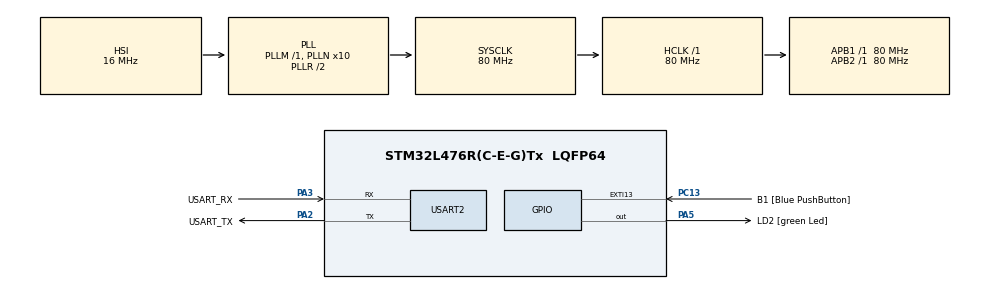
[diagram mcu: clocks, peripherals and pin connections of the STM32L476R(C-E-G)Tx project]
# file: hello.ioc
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Mcu.Family=STM32L4
Mcu.Name=STM32L476R(C-E-G)Tx
Mcu.Package=LQFP64
NVIC.PriorityGroup=NVIC_PRIORITYGROUP_4
PA13\ (JTMS-SWDIO).GPIO_Label=TMS
PA13\ (JTMS-SWDIO).Mode=Serial_Wire
PA13\ (JTMS-SWDIO).Signal=SYS_JTMS-SWDIO
PA14\ (JTCK-SWCLK).GPIO_Label=TCK
PA14\ (JTCK-SWCLK).Mode=Serial_Wire
PA14\ (JTCK-SWCLK).Signal=SYS_JTCK-SWCLK
PA2.GPIO_Label=USART_TX
PA2.GPIO_Mode=GPIO_MODE_AF_PP
PA2.GPIO_PuPd=GPIO_NOPULL
PA2.GPIO_Speed=GPIO_SPEED_FREQ_VERY_HIGH
PA2.Mode=Asynchronous
PA2.Signal=USART2_TX
PA3.GPIO_Label=USART_RX
PA3.GPIO_Mode=GPIO_MODE_AF_PP
PA3.GPIO_PuPd=GPIO_NOPULL
PA3.GPIO_Speed=GPIO_SPEED_FREQ_VERY_HIGH
PA3.Mode=Asynchronous
PA3.Signal=USART2_RX
PA5.GPIO_Label=LD2 [green Led]
PA5.GPIO_ModeDefaultOutputPP=GPIO_MODE_OUTPUT_PP
PA5.GPIO_PuPd=GPIO_NOPULL
PA5.GPIO_Speed=GPIO_SPEED_FREQ_LOW
PA5.Signal=GPIO_Output
PB3\ (JTDO-TRACESWO).GPIO_Label=SWO
PB3\ (JTDO-TRACESWO).Signal=SYS_JTDO-SWO
PC13.GPIO_Label=B1 [Blue PushButton]
PC13.GPIO_ModeDefaultEXTI=GPIO_MODE_IT_FALLING
PC13.GPIO_PuPd=GPIO_NOPULL
PC13.Signal=GPXTI13
PC14-OSC32_IN\ (PC14).Mode=LSE-External-Oscillator
PC14-OSC32_IN\ (PC14).Signal=RCC_OSC32_IN
PC15-OSC32_OUT\ (PC15).Mode=LSE-External-Oscillator
PC15-OSC32_OUT\ (PC15).Signal=RCC_OSC32_OUT
PH0-OSC_IN\ (PH0).Signal=RCC_OSC_IN
PH1-OSC_OUT\ (PH1).Signal=RCC_OSC_OUT
ProjectManager.HeapSize=0x200
ProjectManager.StackSize=0x400
ProjectManager.TargetToolchain=STM32CubeIDE
RCC.ADCFreq_Value=64000000
RCC.AHBFreq_Value=80000000
RCC.APB1Freq_Value=80000000
RCC.APB1TimFreq_Value=80000000
RCC.APB2Freq_Value=80000000
RCC.APB2TimFreq_Value=80000000
RCC.CortexFreq_Value=80000000
RCC.HCLKFreq_Value=80000000
RCC.HSE_VALUE=8000000
RCC.HSI_VALUE=16000000
RCC.MSI_VALUE=4000000
RCC.PLLN=10
RCC.PLLSourceVirtual=RCC_PLLSOURCE_HSI
RCC.PREFETCH_ENABLE=1
RCC.SYSCLKFreq_VALUE=80000000
RCC.SYSCLKSource=RCC_SYSCLKSOURCE_PLLCLK
RCC.USBFreq_Value=64000000
RCC.VCOOutputFreq_Value=160000000
USART2.Parity=PARITY_NONE
USART2.VirtualMode-Asynchronous=VM_ASYNC
USART2.WordLength=WORDLENGTH_8B
board=NUCLEO-L476RG

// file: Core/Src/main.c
/* USER CODE BEGIN Header */
/**
  ******************************************************************************
  * @file           : main.c
  * @brief          : Main program body
  ******************************************************************************
  * @attention
  *
  * Copyright (c) 2022 STMicroelectronics.
  * All rights reserved.
  *
  * This software is licensed under terms that can be found in the LICENSE file
  * in the root directory of this software component.
  * If no LICENSE file comes with this software, it is provided AS-IS.
  *
  ******************************************************************************
  */
/* USER CODE END Header */
#include "main.h"

/* USER CODE BEGIN Includes */
#include <string.h>
#include <stdlib.h>
/* USER CODE END Includes */

 UART_HandleTypeDef huart2;

void SystemClock_Config(void);
static void MX_GPIO_Init(void);
static void MX_USART2_UART_Init(void);
/* USER CODE BEGIN PFP */
#define PUTCHAR_PROTOTYPE int __io_putchar(int ch)
/* USER CODE END PFP */

/* USER CODE BEGIN 0 */

void startLed()
{
	HAL_GPIO_TogglePin(LD2_GPIO_Port, LD2_Pin);
}

/* USER CODE END 0 */

int main(void)
{

  /* MCU Configuration--------------------------------------------------------*/

  /* Reset of all peripherals, Initializes the Flash interface and the Systick. */
  HAL_Init();

  /* Configure the system clock */
  SystemClock_Config();

  /* Initialize all configured peripherals */
  MX_GPIO_Init();
  MX_USART2_UART_Init();
  /* USER CODE BEGIN 2 */

  char buffer[100];
  int i = 0;
  int result;
  char start[] = {'s','t','a','r','t','\0'};

  /* USER CODE END 2 */

  /* Infinite loop */
  while (1)
  {

    /* USER CODE BEGIN 3 */
	  uint8_t ch;

	  if(HAL_UART_Receive(&huart2, &ch, 1, 1) == HAL_OK){

		  if(ch == '\r'){
			  printf("\n\r");
			  result = strncmp(buffer, start, strlen(start));

			  if(result == 0) {
				  printf("buffer is equal to start\n\r");
				  i = strlen(start) + 1;

				  int num = atoi(&buffer[i]);
				  printf("%d\n",num);

				  startLed();
			  } else {
				  printf("invalid command\n");
			  }
			  i = -1;
		  }

		  if (i < 99 && i >= 0) {
			  buffer[i] = ch;
			  i++;
		  }
		  HAL_UART_Transmit(&huart2, &ch, 1, 1);
		  if(i < 0){
			  i = 0;
		  }
	  }
	  //printf("Hello World");

	  /*
	  if(HAL_GPIO_ReadPin(B1_GPIO_Port, B1_Pin) == 1){
		  HAL_GPIO_WritePin(LD2_GPIO_Port, LD2_Pin, 0);
	  }
	  else{
		  HAL_GPIO_WritePin(LD2_GPIO_Port, LD2_Pin, 1);
	  }

	  printf("Hello World\n\r");
	  HAL_Delay(500);
	  */
	  /*
	  HAL_UART_Transmit(&huart2, "Hello\n\r", 7, 1000);
	  HAL_Delay(500);
	  */
  }
  /* USER CODE END 3 */
}

void SystemClock_Config(void)
{
  RCC_OscInitTypeDef RCC_OscInitStruct = {0};
  RCC_ClkInitTypeDef RCC_ClkInitStruct = {0};

  /** Configure the main internal regulator output voltage
  */
  if (HAL_PWREx_ControlVoltageScaling(PWR_REGULATOR_VOLTAGE_SCALE1) != HAL_OK)
  {
    Error_Handler();
  }

  /** Initializes the RCC Oscillators according to the specified parameters
  * in the RCC_OscInitTypeDef structure.
  */
  RCC_OscInitStruct.OscillatorType = RCC_OSCILLATORTYPE_HSI;
  RCC_OscInitStruct.HSIState = RCC_HSI_ON;
  RCC_OscInitStruct.HSICalibrationValue = RCC_HSICALIBRATION_DEFAULT;
  RCC_OscInitStruct.PLL.PLLState = RCC_PLL_ON;
  RCC_OscInitStruct.PLL.PLLSource = RCC_PLLSOURCE_HSI;
  RCC_OscInitStruct.PLL.PLLM = 1;
  RCC_OscInitStruct.PLL.PLLN = 10;
  RCC_OscInitStruct.PLL.PLLP = RCC_PLLP_DIV7;
  RCC_OscInitStruct.PLL.PLLQ = RCC_PLLQ_DIV2;
  RCC_OscInitStruct.PLL.PLLR = RCC_PLLR_DIV2;
  if (HAL_RCC_OscConfig(&RCC_OscInitStruct) != HAL_OK)
  {
    Error_Handler();
  }

  /** Initializes the CPU, AHB and APB buses clocks
  */
  RCC_ClkInitStruct.ClockType = RCC_CLOCKTYPE_HCLK|RCC_CLOCKTYPE_SYSCLK
                              |RCC_CLOCKTYPE_PCLK1|RCC_CLOCKTYPE_PCLK2;
  RCC_ClkInitStruct.SYSCLKSource = RCC_SYSCLKSOURCE_PLLCLK;
  RCC_ClkInitStruct.AHBCLKDivider = RCC_SYSCLK_DIV1;
  RCC_ClkInitStruct.APB1CLKDivider = RCC_HCLK_DIV1;
  RCC_ClkInitStruct.APB2CLKDivider = RCC_HCLK_DIV1;

  if (HAL_RCC_ClockConfig(&RCC_ClkInitStruct, FLASH_LATENCY_4) != HAL_OK)
  {
    Error_Handler();
  }
}

static void MX_USART2_UART_Init(void)
{

  huart2.Instance = USART2;
  huart2.Init.BaudRate = 115200;
  huart2.Init.WordLength = UART_WORDLENGTH_8B;
  huart2.Init.StopBits = UART_STOPBITS_1;
  huart2.Init.Parity = UART_PARITY_NONE;
  huart2.Init.Mode = UART_MODE_TX_RX;
  huart2.Init.HwFlowCtl = UART_HWCONTROL_NONE;
  huart2.Init.OverSampling = UART_OVERSAMPLING_16;
  huart2.Init.OneBitSampling = UART_ONE_BIT_SAMPLE_DISABLE;
  huart2.AdvancedInit.AdvFeatureInit = UART_ADVFEATURE_NO_INIT;
  if (HAL_UART_Init(&huart2) != HAL_OK)
  {
    Error_Handler();
  }

}

static void MX_GPIO_Init(void)
{
  GPIO_InitTypeDef GPIO_InitStruct = {0};

  /* GPIO Ports Clock Enable */
  __HAL_RCC_GPIOC_CLK_ENABLE();
  __HAL_RCC_GPIOH_CLK_ENABLE();
  __HAL_RCC_GPIOA_CLK_ENABLE();
  __HAL_RCC_GPIOB_CLK_ENABLE();

  /*Configure GPIO pin Output Level */
  HAL_GPIO_WritePin(LD2_GPIO_Port, LD2_Pin, GPIO_PIN_RESET);

  /*Configure GPIO pin : B1_Pin */
  GPIO_InitStruct.Pin = B1_Pin;
  GPIO_InitStruct.Mode = GPIO_MODE_IT_FALLING;
  GPIO_InitStruct.Pull = GPIO_NOPULL;
  HAL_GPIO_Init(B1_GPIO_Port, &GPIO_InitStruct);

  /*Configure GPIO pin : LD2_Pin */
  GPIO_InitStruct.Pin = LD2_Pin;
  GPIO_InitStruct.Mode = GPIO_MODE_OUTPUT_PP;
  GPIO_InitStruct.Pull = GPIO_NOPULL;
  GPIO_InitStruct.Speed = GPIO_SPEED_FREQ_LOW;
  HAL_GPIO_Init(LD2_GPIO_Port, &GPIO_InitStruct);

}

/* USER CODE BEGIN 4 */
/**
  * @brief  Retargets the C library printf function to the USART.
  * @param  None
  * @retval None
  */
PUTCHAR_PROTOTYPE
{
  /* Place your implementation of fputc here */
  /* e.g. write a character to the USART1 and Loop until the end of transmission */
  HAL_UART_Transmit(&huart2, (uint8_t *)&ch, 1, 0xFFFF);

  return ch;
}

/* USER CODE END 4 */

void Error_Handler(void)
{
  __disable_irq();
  while (1)
  {
  }
}
